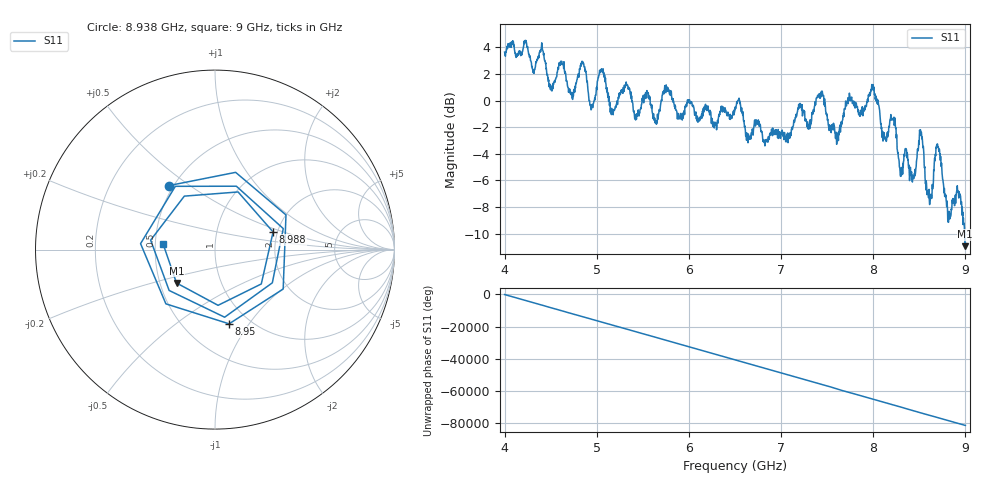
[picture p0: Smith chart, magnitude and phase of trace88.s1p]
! Created with skrf 1.8.0 (http://scikit-rf.org).
# Hz S RI R 50.0
!freq ReS11 ImS11
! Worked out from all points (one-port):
!   1601 points, 4 GHz to 9 GHz, reference 50 ohm
!   lowest |S11| = -10.9 dB at 8.997 GHz (marker M1), VSWR 1.79, Z = 30.5 - j12.3 ohm
!   |S11| at or under -10 dB: 8.99244 GHz to end of sweep
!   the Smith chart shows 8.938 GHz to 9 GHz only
!   S11 on the Smith chart (normalised r, x): 8.938 GHz: 0.47, +0.42; 8.95 GHz: 0.81, -0.81; 8.988 GHz: 1.90, +0.42; 9 GHz: 0.55, +0.04
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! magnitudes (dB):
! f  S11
! 4 GHz  3.6
! 4.4 GHz  4.0
! 4.506 GHz  0.8
! 4.625 GHz  2.7
! 4.728 GHz  0.6
! 4.853 GHz  2.9
! 4.941 GHz  -0.7
! 5.05 GHz  2.3
! 5.162 GHz  -0.6
! 5.25 GHz  0.5
! 5.875 GHz  -1.4
! 6.5 GHz  -0.7
! 7.125 GHz  -2.1
! 7.438 GHz  0.7
! 7.609 GHz  -2.9
! 7.75 GHz  0.1
! 7.994 GHz  1.1
! 8.375 GHz  -4.5
! 8.441 GHz  -5.8
! 8.519 GHz  -2.6
! 8.612 GHz  -7.8
! 8.7 GHz  -3.5
! 8.819 GHz  -8.5
! 8.938 GHz  -7.1
! 8.95 GHz  -7.5
! 8.988 GHz  -9.4
! 8.997 GHz  -10.9
! 9 GHz  -10.7
